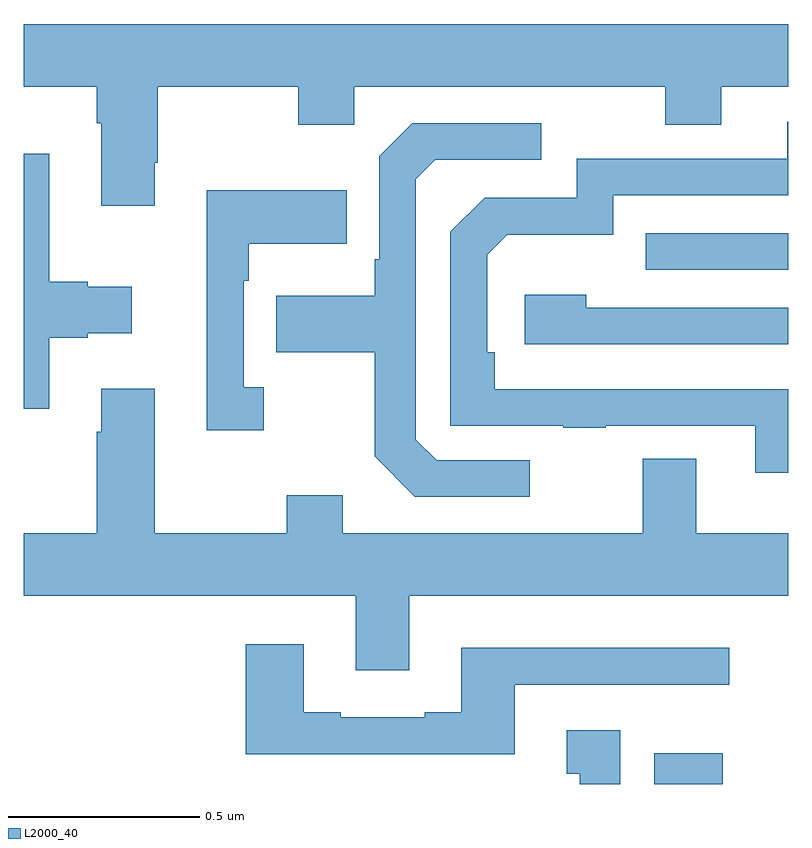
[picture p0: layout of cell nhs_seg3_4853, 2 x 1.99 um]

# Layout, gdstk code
import gdstk
lib = gdstk.Library(unit=1e-6, precision=1e-09)
def R(c, l, rs):  # rectangles x0, y0, x1, y1
    for r in rs: c.add(gdstk.rectangle(r[:2], r[2:], *l))
def P(c, l, *ps):  # polygons
    for p in ps: c.add(gdstk.Polygon(p, *l))
L2000_40 = (2000, 40)

nhs_seg3_4853 = lib.new_cell('nhs_seg3_4853')
R(nhs_seg3_4853, L2000_40, [(172.649,724.4,172.828,724.48), (172.627,725.745,173,725.841)])
P(nhs_seg3_4853, L2000_40, [(171.343,726.025),(171.351,726.025),(171.351,726.224),(171.718,726.224),(171.718,726.125),(171.864,726.125),(171.864,726.224),(172.678,726.224),(172.678,726.125),(172.825,726.125),(172.825,726.224),(173,726.224),(173,726.388),(171,726.388),(171,726.224),(171.191,726.224),(171.191,726.128),(171.203,726.128),(171.203,725.913),(171.343,725.913)],
  [(173,725.432),(172.907,725.432),(172.907,725.433),(172.232,725.433),(172.232,725.53),(172.212,725.53),(172.212,725.784),(172.265,725.837),(172.542,725.837),(172.542,725.94),(173,725.94),(173,726.132),(172.997,726.132),(172.997,726.036),(172.446,726.036),(172.446,725.934),(172.206,725.934),(172.116,725.844),(172.116,725.337),(172.411,725.337),(172.411,725.332),(172.523,725.332),(172.523,725.337),(172.913,725.337),(172.913,725.214),(173,725.214)],
  [(172.324,725.247),(172.08,725.247),(172.026,725.301),(172.026,725.982),(172.077,726.033),(172.354,726.033),(172.354,726.129),(172.017,726.129),(171.93,726.042),(171.93,725.773),(171.918,725.773),(171.918,725.677),(171.661,725.677),(171.661,725.53),(171.918,725.53),(171.918,725.257),(172.023,725.151),(172.324,725.151)],
  [(171.067,725.567),(171.167,725.567),(171.167,725.579),(171.283,725.579),(171.283,725.701),(171.167,725.701),(171.167,725.714),(171.067,725.714),(171.067,726.049),(171,726.049),(171,725.382),(171.067,725.382)],
  [(171.628,725.438),(171.576,725.438),(171.576,725.717),(171.589,725.717),(171.589,725.813),(171.845,725.813),(171.845,725.953),(171.479,725.953),(171.479,725.325),(171.628,725.325)],
  [(173,725.646),(172.472,725.646),(172.472,725.68),(172.311,725.68),(172.311,725.55),(173,725.55)],
  [(172.009,724.892),(173,724.892),(173,725.056),(172.759,725.056),(172.759,725.251),(172.619,725.251),(172.619,725.056),(171.835,725.056),(171.835,725.155),(171.688,725.155),(171.688,725.056),(171.343,725.056),(171.343,725.434),(171.203,725.434),(171.203,725.321),(171.191,725.321),(171.191,725.056),(171,725.056),(171,724.892),(171.869,724.892),(171.869,724.698),(172.009,724.698)],
  [(172.285,724.659),(172.846,724.659),(172.846,724.756),(172.145,724.756),(172.145,724.588),(172.049,724.588),(172.049,724.575),(171.829,724.575),(171.829,724.588),(171.733,724.588),(171.733,724.765),(171.581,724.765),(171.581,724.478),(172.285,724.478)],
  [(172.561,724.54),(172.421,724.54),(172.421,724.427),(172.454,724.427),(172.454,724.4),(172.561,724.4)])

lib.write_gds('nhs_seg3_4853.gds')
